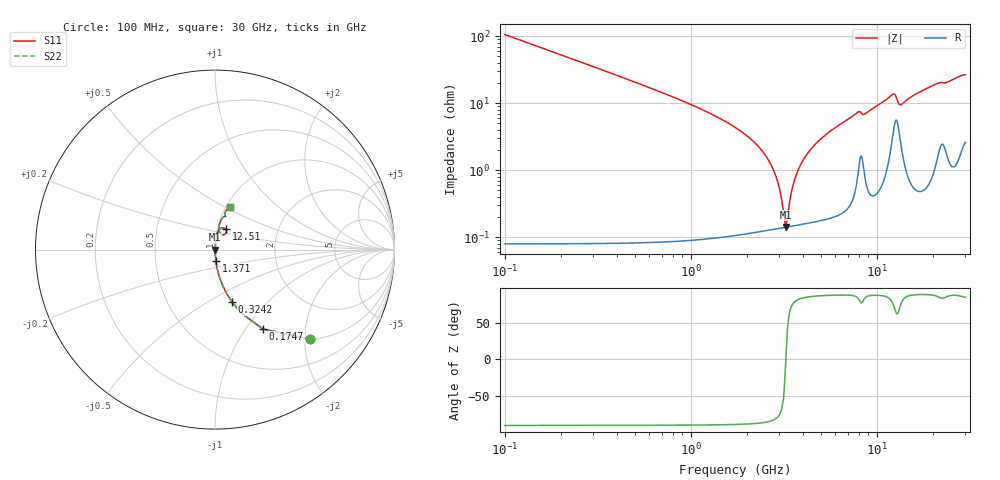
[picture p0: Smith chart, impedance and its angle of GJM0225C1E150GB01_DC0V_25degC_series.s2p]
!Murata Part Number: GJM0225C1E150GB01
!These Parameters are Measured in Series Mode Connection
!  o--ll--o
!Port1  Port2
!  o------o
!Operation Temp=25[degC], DC Bias Voltage=0[V]
!Freq. Start=100[MHz] Stop=30[GHz], 401[Steps]
!Data Generated on Feb 1, 2023
# Hz S RI R 50
!Freq.(Hz) S11(Real) S11(Imag) S21(Real) S21(Imag) S12(Real) S12(Imag) S22(Real) S22(Imag)
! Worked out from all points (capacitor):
!   401 points, 100 MHz to 30 GHz, reference 50 ohm
!   read as one part in series: C = 15 pF near 249.5 MHz
!   lowest |Z| = 143 mohm at 3.24 GHz (marker M1)
!   series resonance near 3.25 GHz, so ESL is about 160 pH
!   S11 on the Smith chart (normalised r, x): 100 MHz: 1.00, -2.12; 174.8 MHz: 1.00, -1.21; 324.2 MHz: 1.00, -0.65; 1.371 GHz: 1.00, -0.13; 12.51 GHz: 1.10, +0.25; 30 GHz: 1.05, +0.53
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1e8  0.5291 -0.4988  0.4709 0.4988  0.4709 0.4988  0.5291 -0.4988
1.7475e8  0.2685 -0.4425  0.7315 0.4425  0.7315 0.4425  0.2685 -0.4425
3.2425e8  0.0956 -0.2927  0.9044 0.2927  0.9044 0.2927  0.0956 -0.2927
6.98e8  0.0214 -0.1417  0.9786 0.1417  0.9786 0.1417  0.0214 -0.1417
1.37075e9  0.00498 -0.0632  0.995 0.0632  0.995 0.0632  0.00498 -0.0632
2.56675e9  0.0015 -0.0155  0.9985 0.0155  0.9985 0.0155  0.0015 -0.0155
2.86575e9  0.00139 -0.0082  0.9986 0.0082  0.9986 0.0082  0.00139 -0.0082
3.16475e9  0.00139 -0.00173  0.9986 0.00173  0.9986 0.00173  0.00139 -0.00173
3.2395e9  0.00141 -0.000215  0.9986 0.000215  0.9986 0.000215  0.00141 -0.000215
3.389e9  0.00145 0.00272  0.9986 -0.00272  0.9986 -0.00272  0.00145 0.00272
3.61325e9  0.00153 0.00689  0.9985 -0.00689  0.9985 -0.00689  0.00153 0.00689
3.91225e9  0.00169 0.0121  0.9983 -0.0121  0.9983 -0.0121  0.00169 0.0121
5.10825e9  0.00273 0.0306  0.9973 -0.0306  0.9973 -0.0306  0.00273 0.0306
7.874e9  0.0124 0.0707  0.9876 -0.0707  0.9876 -0.0707  0.0124 0.0707
8.54675e9  0.0141 0.0654  0.9859 -0.0654  0.9859 -0.0654  0.0141 0.0654
1.01165e10  0.013 0.0911  0.987 -0.0911  0.987 -0.0911  0.013 0.0911
1.25085e10  0.0606 0.1127  0.9394 -0.1127  0.9394 -0.1127  0.0606 0.1127
1.333075e10  0.0373 0.0836  0.9627 -0.0836  0.9627 -0.0836  0.0373 0.0836
1.505e10  0.0207 0.1167  0.9793 -0.1167  0.9793 -0.1167  0.0207 0.1167
2.005825e10  0.0402 0.1749  0.9598 -0.1749  0.9598 -0.1749  0.0402 0.1749
2.50665e10  0.0556 0.2036  0.9444 -0.2036  0.9444 -0.2036  0.0556 0.2036
3e10  0.0859 0.2352  0.9141 -0.2352  0.9141 -0.2352  0.0859 0.2352
